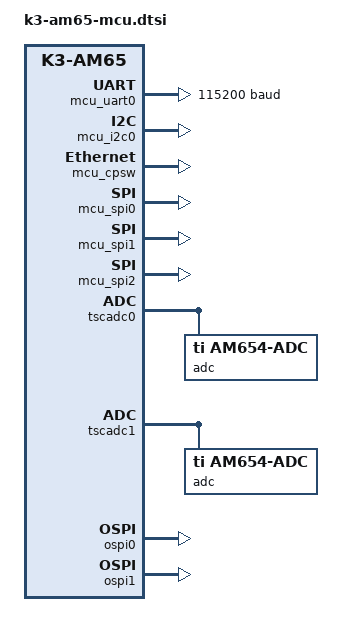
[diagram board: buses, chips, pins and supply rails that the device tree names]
// SPDX-License-Identifier: GPL-2.0
/*
 * Device Tree Source for AM6 SoC Family MCU Domain peripherals
 *
 * Copyright (C) 2016-2018 Texas Instruments Incorporated - http://www.ti.com/
 */

&cbass_mcu {
	mcu_conf: scm_conf@40f00000 {
		compatible = "syscon", "simple-mfd";
		reg = <0x0 0x40f00000 0x0 0x20000>;
		#address-cells = <1>;
		#size-cells = <1>;
		ranges = <0x0 0x0 0x40f00000 0x20000>;

		phy_sel: cpsw-phy-sel@4040 {
			compatible = "ti,am654-cpsw-phy-sel";
			reg = <0x4040 0x4>;
			reg-names = "gmii-sel";
		};
	};

	mcu_uart0: serial@40a00000 {
		compatible = "ti,am654-uart";
			reg = <0x00 0x40a00000 0x00 0x100>;
			reg-shift = <2>;
			reg-io-width = <4>;
			interrupts = <GIC_SPI 565 IRQ_TYPE_LEVEL_HIGH>;
			clock-frequency = <96000000>;
			current-speed = <115200>;
			power-domains = <&k3_pds 149 TI_SCI_PD_EXCLUSIVE>;
			dmas = <&mcu_udmap &mcu_pdma1 18 UDMA_DIR_TX>,
			       <&mcu_udmap &mcu_pdma1 18 UDMA_DIR_RX>;
			dma-names = "tx", "rx";
	};

	mcu_ram: mcu-ram@41c00000 {
		compatible = "mmio-sram";
		reg = <0x00 0x41c00000 0x00 0x80000>;
		ranges = <0x0 0x00 0x41c00000 0x80000>;
		#address-cells = <1>;
		#size-cells = <1>;

		mcu_r5fss0_core0_sram: r5f-sram@0 {
			reg = <0x0 0x40000>;
		};
	};

	mcu_i2c0: i2c@40b00000 {
		compatible = "ti,am654-i2c", "ti,omap4-i2c";
		reg = <0x0 0x40b00000 0x0 0x100>;
		interrupts = <GIC_SPI 564 IRQ_TYPE_LEVEL_HIGH>;
		#address-cells = <1>;
		#size-cells = <0>;
		clock-names = "fck";
		clocks = <&k3_clks 114 1>;
		power-domains = <&k3_pds 114 TI_SCI_PD_EXCLUSIVE>;
	};

	mcu_navss: mcu_navss {
		compatible = "simple-bus";
		#address-cells = <2>;
		#size-cells = <2>;
		dma-coherent;
		dma-ranges;
		ranges;

		ti,sci-dev-id = <119>;

		mcu_ringacc: ringacc@2b800000 {
			compatible = "ti,am654-navss-ringacc";
			reg =	<0x0 0x2b800000 0x0 0x400000>,
				<0x0 0x2b000000 0x0 0x400000>,
				<0x0 0x28590000 0x0 0x100>,
				<0x0 0x2a500000 0x0 0x40000>;
			reg-names = "rt", "fifos", "proxy_gcfg", "proxy_target";
			ti,num-rings = <286>;
			ti,sci-rm-range-gp-rings = <0x2>; /* GP ring range */
			ti,dma-ring-reset-quirk;
			ti,sci = <&dmsc>;
			ti,sci-dev-id = <195>;
			interrupt-parent = <&main_udmass_inta>;
		};

		mcu_udmap: udmap@31150000 {
			compatible = "ti,am654-navss-mcu-udmap";
			reg =	<0x0 0x285c0000 0x0 0x100>,
				<0x0 0x2a800000 0x0 0x40000>,
				<0x0 0x2aa00000 0x0 0x40000>;
			reg-names = "gcfg", "rchanrt", "tchanrt";
			#dma-cells = <3>;

			ti,ringacc = <&mcu_ringacc>;
			ti,psil-base = <0x6000>;

			ti,sci = <&dmsc>;
			ti,sci-dev-id = <194>;

			ti,sci-rm-range-tchan = <0x1>, /* TX_HCHAN */
						<0x2>; /* TX_CHAN */
			ti,sci-rm-range-rchan = <0x3>, /* RX_HCHAN */
						<0x4>; /* RX_CHAN */
			ti,sci-rm-range-rflow = <0x5>; /* GP RFLOW */

			interrupt-parent = <&main_udmass_inta>;
		};
	};

	mcu_pdma0: pdma@40710000 {
		compatible = "ti,am654-pdma";
		reg = <0x0 0x40710000 0x0 0x400>;
		reg-names = "eccaggr_cfg";

		ti,psil-base = <0x7100>;

		/* ti,psil-config0-3 */
		UDMA_PDMA_TR_XY(0);
		UDMA_PDMA_TR_XY(1);
		UDMA_PDMA_TR_XY(2);
		UDMA_PDMA_TR_XY(3);
	};

	mcu_pdma1: pdma@40711000 {
		compatible = "ti,am654-pdma";
		reg = <0x0 0x40711000 0x0 0x400>;
		reg-names = "eccaggr_cfg";

		ti,psil-base = <0x7200>;

		/* ti,psil-config18 */
		UDMA_PDMA_PKT_XY(18);
	};

	mcu_cpsw: ethernet@046000000 {
		compatible = "ti,am654-cpsw-nuss";
		#address-cells = <2>;
		#size-cells = <2>;
		reg = <0x0 0x46000000 0x0 0x200000>;
		reg-names = "cpsw_nuss";
		ranges;
		dma-coherent;
		clocks = <&k3_clks 5 10>;
		clock-names = "fck";
		power-domains = <&k3_pds 5 TI_SCI_PD_EXCLUSIVE>;
		ti,psil-base = <0x7000>;
		cpsw-phy-sel = <&phy_sel>;

		interrupt-parent = <&main_udmass_inta>;

		dmas = <&mcu_udmap &mcu_cpsw 0 UDMA_DIR_TX>,
		       <&mcu_udmap &mcu_cpsw 1 UDMA_DIR_TX>,
		       <&mcu_udmap &mcu_cpsw 2 UDMA_DIR_TX>,
		       <&mcu_udmap &mcu_cpsw 3 UDMA_DIR_TX>,
		       <&mcu_udmap &mcu_cpsw 4 UDMA_DIR_TX>,
		       <&mcu_udmap &mcu_cpsw 5 UDMA_DIR_TX>,
		       <&mcu_udmap &mcu_cpsw 6 UDMA_DIR_TX>,
		       <&mcu_udmap &mcu_cpsw 7 UDMA_DIR_TX>,
		       <&mcu_udmap &mcu_cpsw 0 UDMA_DIR_RX>;
		dma-names = "tx0", "tx1", "tx2", "tx3",
			    "tx4", "tx5", "tx6", "tx7",
			    "rx";

		ports {
			#address-cells = <1>;
			#size-cells = <0>;

			host: host@0 {
				reg = <0>;
				ti,label = "host";
			};

			cpsw_port1: port@1 {
				reg = <1>;
				ti,mac-only;
				ti,label = "port1";
				ti,syscon-efuse = <&mcu_conf 0x200>;
			};
		};

		davinci_mdio: mdio {
			#address-cells = <1>;
			#size-cells = <0>;
			bus_freq = <1000000>;
		};

		cpts {
			clocks = <&mcu_cpsw_cpts_mux>;
			clock-names = "cpts";
			interrupts-extended = <&gic500 GIC_SPI 570 IRQ_TYPE_LEVEL_HIGH>;
			interrupt-names = "cpts";
			ti,cpts-ext-ts-inputs = <4>;
			ti,cpts-periodic-outputs = <2>;

			mcu_cpsw_cpts_mux: cpts_refclk_mux {
				#clock-cells = <0>;
				clocks = <&k3_clks 118 5>, <&k3_clks 118 11>,
					<&k3_clks 157 91>, <&k3_clks 157 77>,
					<&k3_clks 157 102>, <&k3_clks 157 80>,
					<&k3_clks 120 3>, <&k3_clks 121 3>;
				assigned-clocks = <&mcu_cpsw_cpts_mux>;
				assigned-clock-parents = <&k3_clks 118 5>;
			};
		};

		ti,psil-config0 {
			linux,udma-mode = <UDMA_PKT_MODE>;
			statictr-type = <PSIL_STATIC_TR_NONE>;
			ti,needs-epib;
			ti,psd-size = <16>;
		};

		ti,psil-config1 {
			linux,udma-mode = <UDMA_PKT_MODE>;
			statictr-type = <PSIL_STATIC_TR_NONE>;
			ti,needs-epib;
			ti,psd-size = <16>;
		};

		ti,psil-config2 {
			linux,udma-mode = <UDMA_PKT_MODE>;
			statictr-type = <PSIL_STATIC_TR_NONE>;
			ti,needs-epib;
			ti,psd-size = <16>;
		};

		ti,psil-config3 {
			linux,udma-mode = <UDMA_PKT_MODE>;
			statictr-type = <PSIL_STATIC_TR_NONE>;
			ti,needs-epib;
			ti,psd-size = <16>;
		};

		ti,psil-config4 {
			linux,udma-mode = <UDMA_PKT_MODE>;
			statictr-type = <PSIL_STATIC_TR_NONE>;
			ti,needs-epib;
			ti,psd-size = <16>;
		};

		ti,psil-config5 {
			linux,udma-mode = <UDMA_PKT_MODE>;
			statictr-type = <PSIL_STATIC_TR_NONE>;
			ti,needs-epib;
			ti,psd-size = <16>;
		};

		ti,psil-config6 {
			linux,udma-mode = <UDMA_PKT_MODE>;
			statictr-type = <PSIL_STATIC_TR_NONE>;
			ti,needs-epib;
			ti,psd-size = <16>;
		};

		ti,psil-config7 {
			linux,udma-mode = <UDMA_PKT_MODE>;
			statictr-type = <PSIL_STATIC_TR_NONE>;
			ti,needs-epib;
			ti,psd-size = <16>;
		};
	};

	mcu_spi0: spi@40300000 {
		compatible = "ti,am654-mcspi","ti,omap4-mcspi";
		reg = <0x0 0x40300000 0x0 0x400>;
		interrupts = <GIC_SPI 560 IRQ_TYPE_LEVEL_HIGH>;
		clocks = <&k3_clks 142 1>;
		power-domains = <&k3_pds 142 TI_SCI_PD_EXCLUSIVE>;
		#address-cells = <1>;
		#size-cells = <0>;
	};

	mcu_spi1: spi@40310000 {
		compatible = "ti,am654-mcspi","ti,omap4-mcspi";
		reg = <0x0 0x40310000 0x0 0x400>;
		interrupts = <GIC_SPI 561 IRQ_TYPE_LEVEL_HIGH>;
		clocks = <&k3_clks 143 1>;
		power-domains = <&k3_pds 143 TI_SCI_PD_EXCLUSIVE>;
		#address-cells = <1>;
		#size-cells = <0>;
	};

	mcu_spi2: spi@40320000 {
		compatible = "ti,am654-mcspi","ti,omap4-mcspi";
		reg = <0x0 0x40320000 0x0 0x400>;
		interrupts = <GIC_SPI 562 IRQ_TYPE_LEVEL_HIGH>;
		clocks = <&k3_clks 144 1>;
		power-domains = <&k3_pds 144 TI_SCI_PD_EXCLUSIVE>;
		#address-cells = <1>;
		#size-cells = <0>;
	};

	tscadc0: tscadc@40200000 {
		compatible = "ti,am654-tscadc", "ti,am3359-tscadc";
		reg = <0x0 0x40200000 0x0 0x1000>;
		interrupts = <GIC_SPI 580 IRQ_TYPE_LEVEL_HIGH>;
		power-domains = <&k3_pds 0 TI_SCI_PD_EXCLUSIVE>;
		clocks = <&k3_clks 0 2>;
		assigned-clocks = <&k3_clks 0 2>;
		assigned-clock-rates = <60000000>;
		clock-names = "adc_tsc_fck";
		dmas = <&mcu_udmap &mcu_pdma0 0 UDMA_DIR_RX>,
			<&mcu_udmap &mcu_pdma0 1 UDMA_DIR_RX>;
		dma-names = "fifo0", "fifo1";

		adc {
			#io-channel-cells = <1>;
			compatible = "ti,am654-adc", "ti,am3359-adc";
		};
	};

	tscadc1: tscadc@40210000 {
		compatible = "ti,am654-tscadc", "ti,am3359-tscadc";
		reg = <0x0 0x40210000 0x0 0x1000>;
		interrupts = <GIC_SPI 581 IRQ_TYPE_LEVEL_HIGH>;
		power-domains = <&k3_pds 1 TI_SCI_PD_EXCLUSIVE>;
		clocks = <&k3_clks 1 2>;
		assigned-clocks = <&k3_clks 1 2>;
		assigned-clock-rates = <60000000>;
		clock-names = "adc_tsc_fck";
		dmas = <&mcu_udmap &mcu_pdma0 2 UDMA_DIR_RX>,
			<&mcu_udmap &mcu_pdma0 3 UDMA_DIR_RX>;
		dma-names = "fifo0", "fifo1";

		adc {
			#io-channel-cells = <1>;
			compatible = "ti,am654-adc", "ti,am3359-adc";
		};
	};

	mcu_r5fss0: r5fss@41000000 {
		compatible = "ti,am654-r5fss";
		lockstep-mode = <1>;
		#address-cells = <1>;
		#size-cells = <1>;
		ranges = <0x41000000 0x00 0x41000000 0x20000>,
			 <0x41400000 0x00 0x41400000 0x20000>;
		power-domains = <&k3_pds 129 TI_SCI_PD_EXCLUSIVE>;

		mcu_r5fss0_core0: r5f@41000000 {
			compatible = "ti,am654-r5f";
			reg = <0x41000000 0x00008000>,
			      <0x41010000 0x00008000>;
			reg-names = "atcm", "btcm";
			ti,sci = <&dmsc>;
			ti,sci-dev-id = <159>;
			ti,sci-proc-ids = <0x01 0xFF>;
			resets = <&k3_reset 159 1>;
			atcm-enable = <1>;
			btcm-enable = <1>;
			loczrama = <1>;
			mboxes = <&mailbox0_cluster0 &mbox_mcu_r5fss0_core0>;
			sram = <&mcu_r5fss0_core0_sram>;
		};

		mcu_r5fss0_core1: r5f@41400000 {
			compatible = "ti,am654-r5f";
			reg = <0x41400000 0x00008000>,
			      <0x41410000 0x00008000>;
			reg-names = "atcm", "btcm";
			ti,sci = <&dmsc>;
			ti,sci-dev-id = <245>;
			ti,sci-proc-ids = <0x02 0xFF>;
			resets = <&k3_reset 245 1>;
			atcm-enable = <1>;
			btcm-enable = <1>;
			loczrama = <1>;
			mboxes = <&mailbox0_cluster1 &mbox_mcu_r5fss0_core1>;
		};
	};

	fss: fss@47000000 {
		compatible = "simple-bus";
		#address-cells = <2>;
		#size-cells = <2>;
		ranges;

		ospi0: spi@47040000 {
			compatible = "ti,am654-ospi", "cdns,qspi-nor";
			reg = <0x0 0x47040000 0x0 0x100>,
				<0x5 0x00000000 0x1 0x0000000>;
			interrupts = <GIC_SPI 552 IRQ_TYPE_LEVEL_HIGH>;
			cdns,fifo-depth = <256>;
			cdns,fifo-width = <4>;
			cdns,trigger-address = <0x50000000>;
			clocks = <&k3_clks 248 0>;
			assigned-clocks = <&k3_clks 248 0>;
			assigned-clock-parents = <&k3_clks 248 2>;
			assigned-clock-rates = <166666666>;
			power-domains = <&k3_pds 248 TI_SCI_PD_EXCLUSIVE>;
			#address-cells = <1>;
			#size-cells = <0>;
			dma-coherent;
		};

		ospi1: spi@47050000 {
			compatible = "ti,am654-ospi", "cdns,qspi-nor";
			reg = <0x0 0x47050000 0x0 0x100>,
				<0x7 0x00000000 0x1 0x00000000>;
			interrupts = <GIC_SPI 553 IRQ_TYPE_LEVEL_HIGH>;
			cdns,fifo-depth = <256>;
			cdns,fifo-width = <4>;
			cdns,trigger-address = <0x58000000>;
			clocks = <&k3_clks 249 6>;
			power-domains = <&k3_pds 249 TI_SCI_PD_EXCLUSIVE>;
			#address-cells = <1>;
			#size-cells = <0>;
			dma-coherent;
		};
	};

	m_can0: mcan@40528000 {
		compatible = "bosch,m_can";
		reg = <0x0 0x40528000 0x0 0x400>,
		      <0x0 0x40500000 0x0 0x4400>;
		reg-names = "m_can", "message_ram";
		power-domains = <&k3_pds 102 TI_SCI_PD_EXCLUSIVE>;
		clocks = <&k3_clks 102 0>, <&k3_clks 102 5>;
		clock-names = "cclk", "hclk";
		interrupt-parent = <&gic500>;
		interrupts = <GIC_SPI 544 IRQ_TYPE_LEVEL_HIGH>,
			     <GIC_SPI 545 IRQ_TYPE_LEVEL_HIGH>;
		interrupt-names = "int0", "int1";
		bosch,mram-cfg = <0x0 0 0 32 0 0 1 1>;
		status = "disabled";
	};

	m_can1: mcan@40568000 {
		compatible = "bosch,m_can";
		reg = <0x0 0x40568000 0x0 0x400>,
		      <0x0 0x40540000 0x0 0x4400>;
		reg-names = "m_can", "message_ram";
		power-domains = <&k3_pds 103 TI_SCI_PD_EXCLUSIVE>;
		clocks = <&k3_clks 103 0>, <&k3_clks 103 5>;
		clock-names = "cclk", "hclk";
		interrupt-parent = <&gic500>;
		interrupts = <GIC_SPI 547 IRQ_TYPE_LEVEL_HIGH>,
			     <GIC_SPI 548 IRQ_TYPE_LEVEL_HIGH>;
		interrupt-names = "int0", "int1";
		bosch,mram-cfg = <0x0 0 0 32 0 0 1 1>;
		status = "disabled";
	};
};
